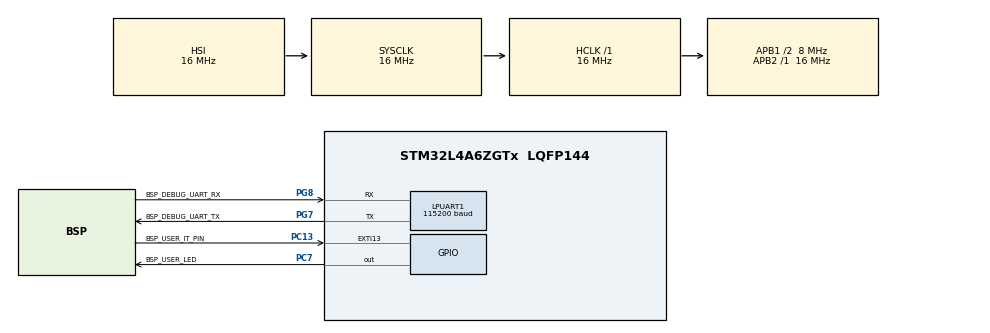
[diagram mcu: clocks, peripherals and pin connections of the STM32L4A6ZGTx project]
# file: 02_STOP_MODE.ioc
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LPUART1.BaudRate=115200
LPUART1.WordLength=UART_WORDLENGTH_8B
Mcu.Family=STM32L4
Mcu.Name=STM32L4A6ZGTx
Mcu.Package=LQFP144
NVIC.EXTI15_10_IRQn=true\:0\:0\:false\:false\:true\:true\:true\:true
NVIC.PriorityGroup=NVIC_PRIORITYGROUP_4
NVIC.RTC_WKUP_IRQn=true\:0\:0\:false\:false\:true\:true\:true\:true
PC13.GPIO_Label=BSP_USER_IT_PIN
PC13.Signal=GPXTI13
PC7.GPIO_Label=BSP_USER_LED
PC7.Signal=GPIO_Output
PG7.GPIO_Label=BSP_DEBUG_UART_TX
PG7.Mode=Asynchronous
PG7.Signal=LPUART1_TX
PG8.GPIO_Label=BSP_DEBUG_UART_RX
PG8.Mode=Asynchronous
PG8.Signal=LPUART1_RX
ProjectManager.HeapSize=0x200
ProjectManager.StackSize=0x400
ProjectManager.TargetToolchain=STM32CubeIDE
RCC.ADCFreq_Value=64000000
RCC.AHBFreq_Value=16000000
RCC.APB1CLKDivider=RCC_HCLK_DIV2
RCC.APB1Freq_Value=8000000
RCC.APB1TimFreq_Value=16000000
RCC.APB2Freq_Value=16000000
RCC.APB2TimFreq_Value=16000000
RCC.CortexFreq_Value=16000000
RCC.HCLKFreq_Value=16000000
RCC.HSE_VALUE=8000000
RCC.HSI48_VALUE=48000000
RCC.HSI_VALUE=16000000
RCC.LSE_VALUE=32768
RCC.MSI_VALUE=4000000
RCC.PLLSourceVirtual=RCC_PLLSOURCE_HSI
RCC.SYSCLKFreq_VALUE=16000000
RCC.SYSCLKSource=RCC_SYSCLKSOURCE_HSI
RCC.USBFreq_Value=64000000
RCC.VCOOutputFreq_Value=128000000
VP_RTC_VS_RTC_Activate.Mode=RTC_Enabled
VP_RTC_VS_RTC_WakeUp_intern.Mode=WakeUp
board=NUCLEO-L4A6ZG

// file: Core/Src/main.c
/* USER CODE BEGIN Header */
/**
  ******************************************************************************
  * @file           : main.c
  * @brief          : Main program body
  ******************************************************************************
  * @attention
  *
  * Copyright (c) 2024 STMicroelectronics.
  * All rights reserved.
  *
  * This software is licensed under terms that can be found in the LICENSE file
  * in the root directory of this software component.
  * If no LICENSE file comes with this software, it is provided AS-IS.
  *
  ******************************************************************************
  */
/* USER CODE END Header */
#include "main.h"

/* USER CODE BEGIN Includes */
#include "stdio.h"
/* USER CODE END Includes */

UART_HandleTypeDef hlpuart1;

RTC_HandleTypeDef hrtc;

void SystemClock_Config(void);
static void MX_GPIO_Init(void);
static void MX_LPUART1_UART_Init(void);
static void MX_RTC_Init(void);

/* USER CODE BEGIN 0 */
void HAL_GPIO_EXTI_Callback(uint16_t GPIO_Pin)
{
	if(GPIO_Pin == BSP_USER_IT_PIN_Pin)
	{
		SystemClock_Config();
		HAL_ResumeTick();
		printf("Woke up from STOP MODE by EXTI\r\n");
//		HAL_PWR_DisableSleepOnExit();
	}
}

void HAL_RTCEx_WakeUpTimerEventCallback(RTC_HandleTypeDef *hrtc)
{
	SystemClock_Config();
	HAL_ResumeTick();
	printf("Woke up from STOP MODE by RTC\r\n");
}
/* USER CODE END 0 */

int main(void)
{

  /* MCU Configuration--------------------------------------------------------*/

  /* Reset of all peripherals, Initializes the Flash interface and the Systick. */
  HAL_Init();

  /* Configure the system clock */
  SystemClock_Config();

  /* Initialize all configured peripherals */
  MX_GPIO_Init();
  MX_LPUART1_UART_Init();
  MX_RTC_Init();

  /* Infinite loop */
  while (1)
  {

    /* USER CODE BEGIN 3 */
	  printf("Going into the STOP MODE\r\n");
	  for(int i=0; i<20; i++)
	  {
		  HAL_GPIO_TogglePin(BSP_USER_LED_GPIO_Port, BSP_USER_LED_Pin);
		  HAL_Delay(200);
	  }

	  /*** RTC wake up timer ***/

	  /*## Configure the Wake up timer ###########################################*/
	  /*  RTC Wake-up Interrupt Generation:
	      Wake-up Time Base = (RTC_WAKEUPCLOCK_RTCCLK_DIV /(LSI))
	      ==> WakeUpCounter = Wake-up Time / Wake-up Time Base

	      To configure the wake up timer to 20s the WakeUpCounter is set to 0xA017:
	      for 10s ==> WakeUpCounter = 0x4E20
	      for 5s  ==> WakeUpCounter = 0x2710
	        RTC_WAKEUPCLOCK_RTCCLK_DIV = RTCCLK_Div16 = 16
	        Wake-up Time Base = 16 /(32KHz) = 0.0005 seconds
	        ==> WakeUpCounter = ~20s/0.0005s = 40000 = 0xA017
	        ==> WakeUpCounter = ~10s/0.0005s = 20000 = 0x4E20
	        ==> WakeUpCounter = ~5s/0.0005s = 10000 = 0x2710 */

	  if (HAL_RTCEx_SetWakeUpTimer_IT(&hrtc, 0x4E20, RTC_WAKEUPCLOCK_RTCCLK_DIV16) != HAL_OK)
	  {
	    Error_Handler();
	  }

	  /*** suspend the systick before going into stop mode ***/
	  HAL_SuspendTick();

	  /*** enable sleep on exit for only interrupt operations ***/
	//  HAL_PWR_EnableSleepOnExit();

	  /*** enter the stop mode ***/
	  HAL_PWREx_EnterSTOP2Mode(PWR_STOPENTRY_WFI);

	  /*** wake up from stop mode ***/

	  /*** disable rtc wake up ***/
	  HAL_RTCEx_DeactivateWakeUpTimer(&hrtc);

	  /*** returned from stop mode ***/

	  printf("Woke up from STOP MODE in main loop\r\n");
	  for(int i=0; i<10; i++)
	    {
	  	  HAL_GPIO_TogglePin(BSP_USER_LED_GPIO_Port, BSP_USER_LED_Pin);
	  	  HAL_Delay(1000);
	    }
  }
  /* USER CODE END 3 */
}

void SystemClock_Config(void)
{
  RCC_OscInitTypeDef RCC_OscInitStruct = {0};
  RCC_ClkInitTypeDef RCC_ClkInitStruct = {0};

  /** Configure the main internal regulator output voltage
  */
  if (HAL_PWREx_ControlVoltageScaling(PWR_REGULATOR_VOLTAGE_SCALE1) != HAL_OK)
  {
    Error_Handler();
  }

  /** Initializes the RCC Oscillators according to the specified parameters
  * in the RCC_OscInitTypeDef structure.
  */
  RCC_OscInitStruct.OscillatorType = RCC_OSCILLATORTYPE_HSI|RCC_OSCILLATORTYPE_LSI;
  RCC_OscInitStruct.HSIState = RCC_HSI_ON;
  RCC_OscInitStruct.HSICalibrationValue = RCC_HSICALIBRATION_DEFAULT;
  RCC_OscInitStruct.LSIState = RCC_LSI_ON;
  RCC_OscInitStruct.PLL.PLLState = RCC_PLL_NONE;
  if (HAL_RCC_OscConfig(&RCC_OscInitStruct) != HAL_OK)
  {
    Error_Handler();
  }

  /** Initializes the CPU, AHB and APB buses clocks
  */
  RCC_ClkInitStruct.ClockType = RCC_CLOCKTYPE_HCLK|RCC_CLOCKTYPE_SYSCLK
                              |RCC_CLOCKTYPE_PCLK1|RCC_CLOCKTYPE_PCLK2;
  RCC_ClkInitStruct.SYSCLKSource = RCC_SYSCLKSOURCE_HSI;
  RCC_ClkInitStruct.AHBCLKDivider = RCC_SYSCLK_DIV1;
  RCC_ClkInitStruct.APB1CLKDivider = RCC_HCLK_DIV2;
  RCC_ClkInitStruct.APB2CLKDivider = RCC_HCLK_DIV1;

  if (HAL_RCC_ClockConfig(&RCC_ClkInitStruct, FLASH_LATENCY_0) != HAL_OK)
  {
    Error_Handler();
  }
}

static void MX_LPUART1_UART_Init(void)
{

  hlpuart1.Instance = LPUART1;
  hlpuart1.Init.BaudRate = 115200;
  hlpuart1.Init.WordLength = UART_WORDLENGTH_8B;
  hlpuart1.Init.StopBits = UART_STOPBITS_1;
  hlpuart1.Init.Parity = UART_PARITY_NONE;
  hlpuart1.Init.Mode = UART_MODE_TX_RX;
  hlpuart1.Init.HwFlowCtl = UART_HWCONTROL_NONE;
  hlpuart1.Init.OneBitSampling = UART_ONE_BIT_SAMPLE_DISABLE;
  hlpuart1.AdvancedInit.AdvFeatureInit = UART_ADVFEATURE_NO_INIT;
  if (HAL_UART_Init(&hlpuart1) != HAL_OK)
  {
    Error_Handler();
  }

}

static void MX_RTC_Init(void)
{

  /** Initialize RTC Only
  */
  hrtc.Instance = RTC;
  hrtc.Init.HourFormat = RTC_HOURFORMAT_24;
  hrtc.Init.AsynchPrediv = 127;
  hrtc.Init.SynchPrediv = 255;
  hrtc.Init.OutPut = RTC_OUTPUT_DISABLE;
  hrtc.Init.OutPutRemap = RTC_OUTPUT_REMAP_NONE;
  hrtc.Init.OutPutPolarity = RTC_OUTPUT_POLARITY_HIGH;
  hrtc.Init.OutPutType = RTC_OUTPUT_TYPE_OPENDRAIN;
  if (HAL_RTC_Init(&hrtc) != HAL_OK)
  {
    Error_Handler();
  }

  /** Enable the WakeUp
  */
//  if (HAL_RTCEx_SetWakeUpTimer_IT(&hrtc, 0, RTC_WAKEUPCLOCK_RTCCLK_DIV16) != HAL_OK)
//  {
//    Error_Handler();
//  }

}

static void MX_GPIO_Init(void)
{
  GPIO_InitTypeDef GPIO_InitStruct = {0};

  /* GPIO Ports Clock Enable */
  __HAL_RCC_GPIOC_CLK_ENABLE();
  __HAL_RCC_GPIOG_CLK_ENABLE();
  HAL_PWREx_EnableVddIO2();

  /*Configure GPIO pin Output Level */
  HAL_GPIO_WritePin(BSP_USER_LED_GPIO_Port, BSP_USER_LED_Pin, GPIO_PIN_RESET);

  /*Configure GPIO pin : BSP_USER_IT_PIN_Pin */
  GPIO_InitStruct.Pin = BSP_USER_IT_PIN_Pin;
  GPIO_InitStruct.Mode = GPIO_MODE_IT_RISING;
  GPIO_InitStruct.Pull = GPIO_NOPULL;
  HAL_GPIO_Init(BSP_USER_IT_PIN_GPIO_Port, &GPIO_InitStruct);

  /*Configure GPIO pin : BSP_USER_LED_Pin */
  GPIO_InitStruct.Pin = BSP_USER_LED_Pin;
  GPIO_InitStruct.Mode = GPIO_MODE_OUTPUT_PP;
  GPIO_InitStruct.Pull = GPIO_NOPULL;
  GPIO_InitStruct.Speed = GPIO_SPEED_FREQ_LOW;
  HAL_GPIO_Init(BSP_USER_LED_GPIO_Port, &GPIO_InitStruct);

  /* EXTI interrupt init*/
  HAL_NVIC_SetPriority(EXTI15_10_IRQn, 0, 0);
  HAL_NVIC_EnableIRQ(EXTI15_10_IRQn);

}

void Error_Handler(void)
{
  __disable_irq();
  while (1)
  {
  }
}
